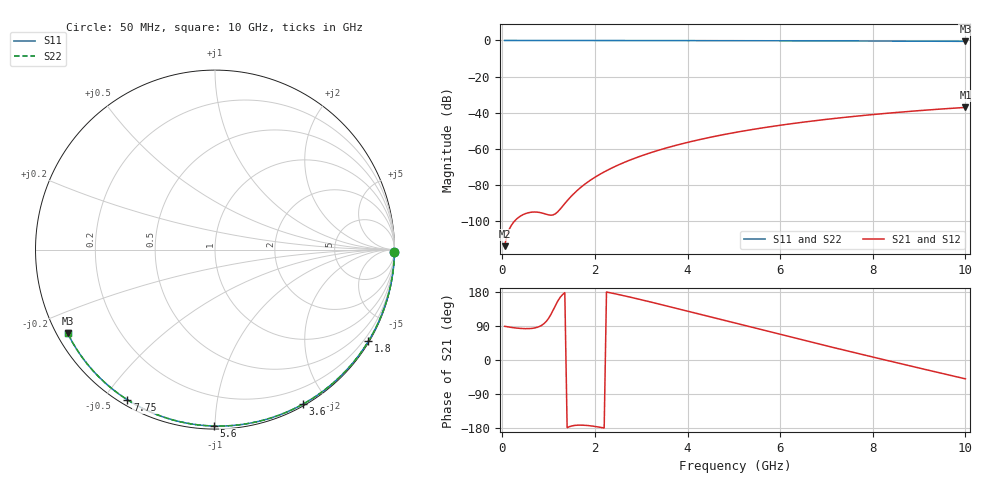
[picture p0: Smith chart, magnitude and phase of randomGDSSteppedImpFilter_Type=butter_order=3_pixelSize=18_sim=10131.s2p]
! freq	dB(S11)	phase(S11)	dB(S12)	phase(S12)
!  dB(S21)	phase(S21)	dB(S22)	phase(S22)
!S-par simulation data
#  GHz  S  DB  R 50
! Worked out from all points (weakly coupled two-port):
!   200 points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, 50 MHz to 10 GHz, reference 50 ohm
!   highest |S21| = -37.15 dB at 10 GHz (marker M1); lowest = -114.1 dB at 50 MHz (marker M2)
!   lowest |S11| = -0.5 dB at 10 GHz (marker M3), VSWR 34.73, Z = 1.54 - j13.2 ohm
!   |S11| at or under -10 dB: nowhere
!   |S22| runs from -0.5 to 0.0 dB; largest |S21 - S12| = 0
!   S11 on the Smith chart (normalised r, x): 50 MHz: open; 1.8 GHz: 0.03, -3.62; 3.6 GHz: 0.02, -1.72; 5.6 GHz: 0.02, -0.99; 7.75 GHz: 0.02, -0.57; 10 GHz: 0.03, -0.26
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0.05  -0.00 -0.9  -114.13 88.9  -114.13 88.9  -0.00 -0.9
0.45  -0.01 -7.8  -96.62 82.9  -96.62 82.9  -0.01 -7.9
0.9  -0.02 -15.6  -96.04 95.9  -96.04 95.9  -0.02 -15.6
1.3  -0.03 -22.4  -92.02 172.5  -92.02 172.5  -0.03 -22.5
1.75  -0.04 -30.1  -80.38 -172.1  -80.38 -172.1  -0.04 -30.1
1.8  -0.04 -30.9  -79.40 -172.5  -79.40 -172.5  -0.04 -30.9
1.95  -0.04 -33.4  -76.72 -174.5  -76.72 -174.5  -0.04 -33.4
2.1  -0.05 -35.9  -74.37 -177.3  -74.37 -177.3  -0.05 -35.9
2.3  -0.05 -39.2  -71.59 178.2  -71.59 178.2  -0.05 -39.3
2.5  -0.05 -42.5  -69.14 173.1  -69.14 173.1  -0.05 -42.6
2.9  -0.06 -49.1  -64.97 161.9  -64.97 161.9  -0.06 -49.1
3.4  -0.08 -57.1  -60.71 147.1  -60.71 147.1  -0.08 -57.1
3.6  -0.08 -60.2  -59.22 141.1  -59.22 141.1  -0.08 -60.3
4.3  -0.10 -71.1  -54.77 119.7  -54.77 119.7  -0.10 -71.1
5.05  -0.13 -82.3  -50.94 96.6  -50.94 96.6  -0.13 -82.4
5.6  -0.15 -90.4  -48.58 79.7  -48.58 79.7  -0.15 -90.4
6.15  -0.17 -98.2  -46.51 63.0  -46.51 63.0  -0.17 -98.2
6.7  -0.21 -105.9  -44.68 46.4  -44.68 46.4  -0.21 -105.9
7.75  -0.28 -120.2  -41.73 15.2  -41.73 15.2  -0.28 -120.3
8.35  -0.33 -128.3  -40.30 -2.4  -40.30 -2.4  -0.33 -128.4
9.2  -0.41 -139.7  -38.55 -26.9  -38.55 -26.9  -0.41 -139.7
10  -0.50 -150.4  -37.15 -49.7  -37.15 -49.7  -0.50 -150.5
